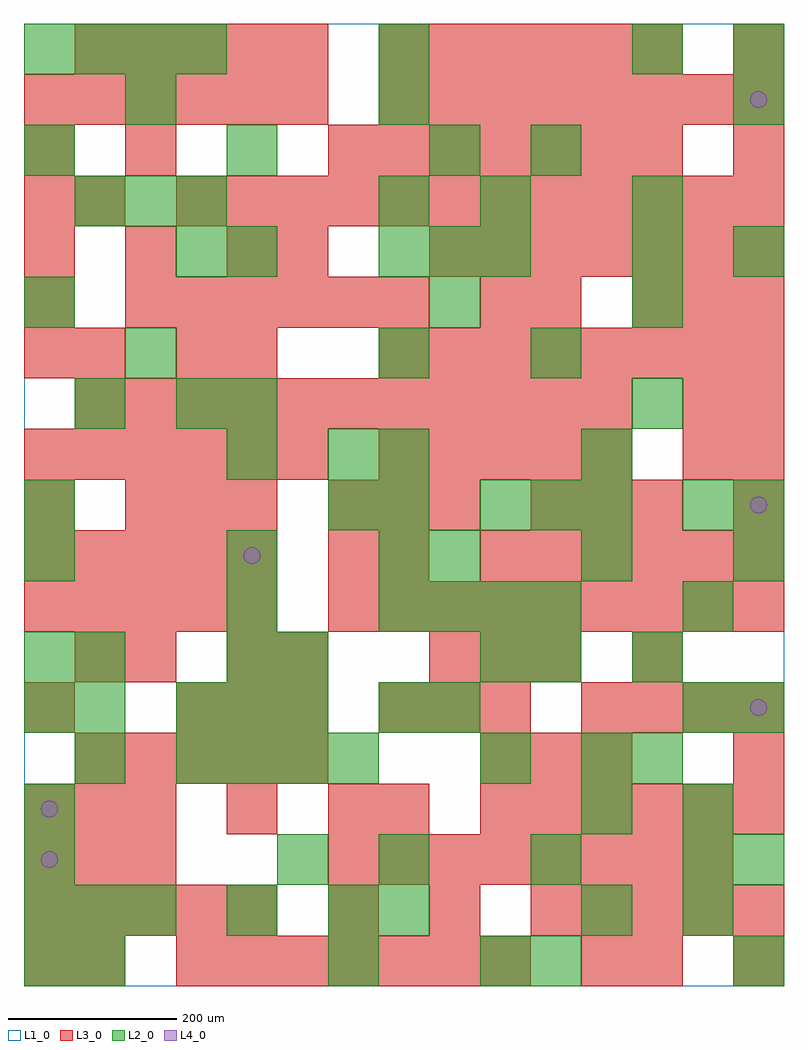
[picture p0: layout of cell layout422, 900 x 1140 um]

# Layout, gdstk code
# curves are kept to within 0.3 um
import gdstk
lib = gdstk.Library(unit=1e-6, precision=1e-09)
def R(c, l, rs):  # rectangles x0, y0, x1, y1
    for r in rs: c.add(gdstk.rectangle(r[:2], r[2:], *l))
def A(c, l, x, y, w, h, nx, ny, dx, dy):  # array of equal rectangles
    R(c, l, [(x+i*dx, y+j*dy, x+i*dx+w, y+j*dy+h) for i in range(nx) for j in range(ny)])
def P(c, l, *ps):  # polygons
    for p in ps: c.add(gdstk.Polygon(p, *l))
L1_0 = (1, 0)
L2_0 = (2, 0)
L3_0 = (3, 0)
L4_0 = (4, 0)

layout422 = lib.new_cell('layout422')
R(layout422, L1_0, [(0,0,900,1140)])
A(layout422, L2_0, 600, 0, 60, 60, 1, 3, 0, 360)
A(layout422, L2_0, 0, 60, 60, 60, 3, 1, 60, 0)
A(layout422, L2_0, 780, 60, 60, 60, 1, 5, 0, 120)
A(layout422, L2_0, 420, 120, 60, 60, 3, 1, 180, 0)
A(layout422, L2_0, 60, 240, 60, 60, 1, 3, 0, 60)
A(layout422, L2_0, 180, 240, 60, 60, 4, 1, 60, 0)
A(layout422, L2_0, 180, 300, 60, 60, 3, 1, 60, 0)
A(layout422, L2_0, 240, 360, 60, 60, 1, 3, 0, 60)
A(layout422, L2_0, 420, 420, 60, 60, 4, 1, 60, 0)
A(layout422, L2_0, 420, 480, 60, 60, 1, 3, 0, 60)
A(layout422, L2_0, 480, 480, 60, 60, 3, 1, 180, 0)
A(layout422, L2_0, 540, 540, 60, 60, 3, 1, 60, 0)
A(layout422, L2_0, 720, 780, 60, 60, 1, 3, 0, 60)
A(layout422, L2_0, 420, 840, 60, 60, 3, 1, 60, 0)
A(layout422, L2_0, 60, 900, 60, 60, 3, 1, 60, 0)
A(layout422, L2_0, 0, 960, 60, 60, 3, 1, 240, 0)
A(layout422, L2_0, 0, 1080, 60, 60, 4, 1, 60, 0)
R(layout422, L2_0, [(0,0,60,60), (60,0,120,60), (360,0,420,60), (540,0,600,60), (840,0,900,60), (240,60,300,120), (360,60,420,120), (420,60,480,120), (660,60,720,120), (0,120,60,180), (300,120,360,180), (840,120,900,180), (0,180,60,240), (660,180,720,240), (540,240,600,300), (660,240,720,300), (720,240,780,300), (0,300,60,360), (420,300,480,360), (480,300,540,360), (840,300,900,360), (0,360,60,420), (300,360,360,420), (540,360,600,420), (720,360,780,420), (0,480,60,540), (0,540,60,600), (360,540,420,600), (840,540,900,600), (240,600,300,660), (360,600,420,660), (660,600,720,660), (60,660,120,720), (180,660,240,720), (240,660,300,720), (720,660,780,720), (120,720,180,780), (420,720,480,780), (0,780,60,840), (480,780,540,840), (180,840,240,900), (240,840,300,900), (840,840,900,900), (420,900,480,960), (540,900,600,960), (600,960,660,1020), (120,1020,180,1080), (420,1020,480,1080), (840,1020,900,1080), (420,1080,480,1140), (720,1080,780,1140), (840,1080,900,1140)])
A(layout422, L3_0, 60, 0, 60, 60, 1, 3, 0, 360)
A(layout422, L3_0, 180, 0, 60, 60, 7, 1, 60, 0)
A(layout422, L3_0, 0, 60, 60, 60, 5, 2, 60, 360)
A(layout422, L3_0, 360, 60, 60, 60, 3, 1, 120, 0)
A(layout422, L3_0, 660, 60, 60, 60, 4, 2, 60, 240)
A(layout422, L3_0, 0, 120, 60, 60, 3, 2, 60, 60)
A(layout422, L3_0, 360, 120, 60, 60, 8, 1, 60, 0)
A(layout422, L3_0, 540, 180, 60, 60, 6, 2, 60, 300)
A(layout422, L3_0, 60, 240, 60, 60, 5, 2, 60, 840)
A(layout422, L3_0, 540, 240, 60, 60, 3, 1, 60, 0)
A(layout422, L3_0, 180, 300, 60, 60, 3, 1, 60, 0)
A(layout422, L3_0, 420, 300, 60, 60, 3, 1, 60, 0)
A(layout422, L3_0, 480, 360, 60, 60, 3, 1, 60, 0)
A(layout422, L3_0, 360, 420, 60, 60, 9, 1, 60, 0)
A(layout422, L3_0, 0, 480, 60, 60, 5, 1, 60, 0)
A(layout422, L3_0, 120, 540, 60, 60, 3, 1, 60, 0)
A(layout422, L3_0, 360, 540, 60, 60, 3, 1, 60, 0)
A(layout422, L3_0, 600, 540, 60, 60, 3, 1, 60, 0)
A(layout422, L3_0, 840, 540, 60, 60, 1, 3, 0, 60)
A(layout422, L3_0, 0, 600, 60, 60, 6, 2, 60, 420)
A(layout422, L3_0, 420, 600, 60, 60, 5, 1, 60, 0)
A(layout422, L3_0, 60, 660, 60, 60, 11, 1, 60, 0)
A(layout422, L3_0, 420, 720, 60, 60, 8, 2, 60, 300)
A(layout422, L3_0, 120, 780, 60, 60, 6, 1, 60, 0)
A(layout422, L3_0, 720, 780, 60, 60, 3, 1, 60, 0)
A(layout422, L3_0, 0, 840, 60, 60, 3, 1, 120, 0)
A(layout422, L3_0, 480, 840, 60, 60, 7, 1, 60, 0)
A(layout422, L3_0, 180, 900, 60, 60, 12, 1, 60, 0)
A(layout422, L3_0, 360, 960, 60, 60, 7, 1, 60, 0)
A(layout422, L3_0, 420, 1080, 60, 60, 6, 1, 60, 0)
R(layout422, L3_0, [(0,0,60,60), (660,0,720,60), (720,0,780,60), (840,0,900,60), (240,180,300,240), (360,180,420,240), (420,180,480,240), (840,240,900,300), (0,300,60,360), (120,360,180,420), (240,360,300,420), (300,360,360,420), (720,360,780,420), (360,480,420,540), (420,480,480,540), (0,540,60,600), (780,600,840,660), (780,660,840,720), (0,720,60,780), (180,720,240,780), (240,720,300,780), (0,780,60,840), (540,780,600,840), (600,780,660,840), (300,840,360,900), (0,900,60,960), (60,900,120,960), (0,960,60,1020), (120,960,180,1020), (840,960,900,1020), (840,1080,900,1140)])
P(layout422, L4_0, [(40,150),(39.239,153.827),(37.071,157.071),(33.827,159.239),(30,160),(26.173,159.239),(22.929,157.071),(20.761,153.827),(20,150),(20.761,146.173),(22.929,142.929),(26.173,140.761),(30,140),(33.827,140.761),(37.071,142.929),(39.239,146.173)],
  [(40,210),(39.239,213.827),(37.071,217.071),(33.827,219.239),(30,220),(26.173,219.239),(22.929,217.071),(20.761,213.827),(20,210),(20.761,206.173),(22.929,202.929),(26.173,200.761),(30,200),(33.827,200.761),(37.071,202.929),(39.239,206.173)],
  [(280,510),(279.239,513.827),(277.071,517.071),(273.827,519.239),(270,520),(266.173,519.239),(262.929,517.071),(260.761,513.827),(260,510),(260.761,506.173),(262.929,502.929),(266.173,500.761),(270,500),(273.827,500.761),(277.071,502.929),(279.239,506.173)],
  [(880,330),(879.239,333.827),(877.071,337.071),(873.827,339.239),(870,340),(866.173,339.239),(862.929,337.071),(860.761,333.827),(860,330),(860.761,326.173),(862.929,322.929),(866.173,320.761),(870,320),(873.827,320.761),(877.071,322.929),(879.239,326.173)],
  [(880,570),(879.239,573.827),(877.071,577.071),(873.827,579.239),(870,580),(866.173,579.239),(862.929,577.071),(860.761,573.827),(860,570),(860.761,566.173),(862.929,562.929),(866.173,560.761),(870,560),(873.827,560.761),(877.071,562.929),(879.239,566.173)],
  [(880,1050),(879.239,1053.827),(877.071,1057.071),(873.827,1059.239),(870,1060),(866.173,1059.239),(862.929,1057.071),(860.761,1053.827),(860,1050),(860.761,1046.173),(862.929,1042.929),(866.173,1040.761),(870,1040),(873.827,1040.761),(877.071,1042.929),(879.239,1046.173)])

lib.write_gds('layout422.gds')
